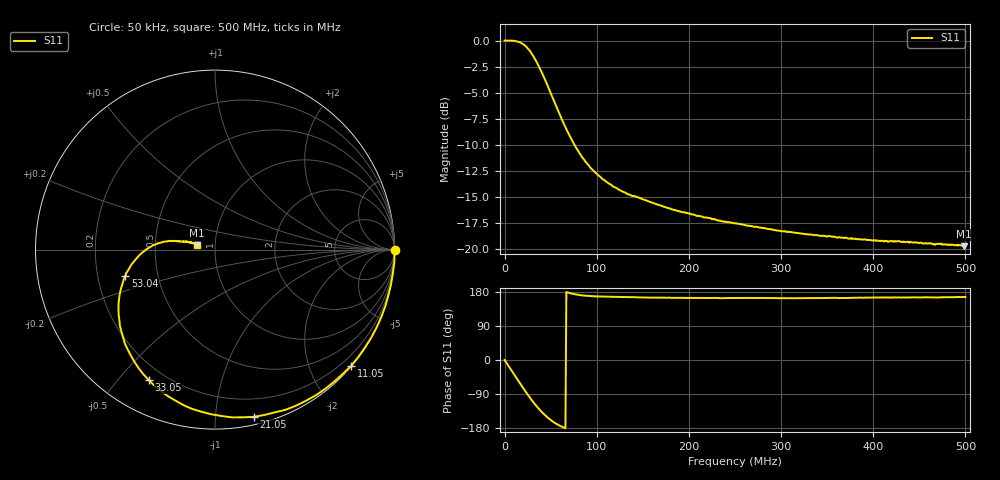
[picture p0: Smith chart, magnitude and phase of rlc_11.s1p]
# MHz S MA R 50
!  freq  S11
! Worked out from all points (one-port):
!   501 points, 50 kHz to 500 MHz, reference 50 ohm
!   lowest |S11| = -19.7 dB at 498 MHz (marker M1), VSWR 1.23, Z = 40.8 + j1.99 ohm
!   |S11| at or under -10 dB: 75.87 MHz to end of sweep
!   S11 on the Smith chart (normalised r, x): 50 kHz: open; 11.05 MHz: 0.01, -2.71; 21.05 MHz: 0.06, -1.26; 33.05 MHz: 0.14, -0.60; 53.04 MHz: 0.32, -0.13; 500 MHz: 0.81, +0.04
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0.05  1 -0.2
2.0498  0.9997 -7.5
6.0494  0.9996 -22.1
8.0492  0.9991 -29.4
11.0489  0.9972 -40.5
16.0484  0.983 -58.9
19.0481  0.966 -69.8
21.0479  0.9564 -77.0
23.0477  0.9398 -84.2
26.0474  0.9074 -94.5
30.047  0.858 -107.7
33.0467  0.8148 -117.0
37.0463  0.754 -128.4
42.0458  0.6786 -141.3
47.0453  0.6034 -152.5
53.0447  0.5207 -163.7
58.0442  0.4616 -171.1
63.0437  0.4109 -177.0
74.0426  0.327 174.5
92.0408  0.2494 169.1
125.0375  0.1923 166.4
188.0312  0.1526 163.9
250.025  0.1331 163.5
313.0187  0.1204 163.1
375.0125  0.1126 163.8
438.0062  0.1087 165.1
498.0002  0.1035 166.5
500  0.1044 166.1
